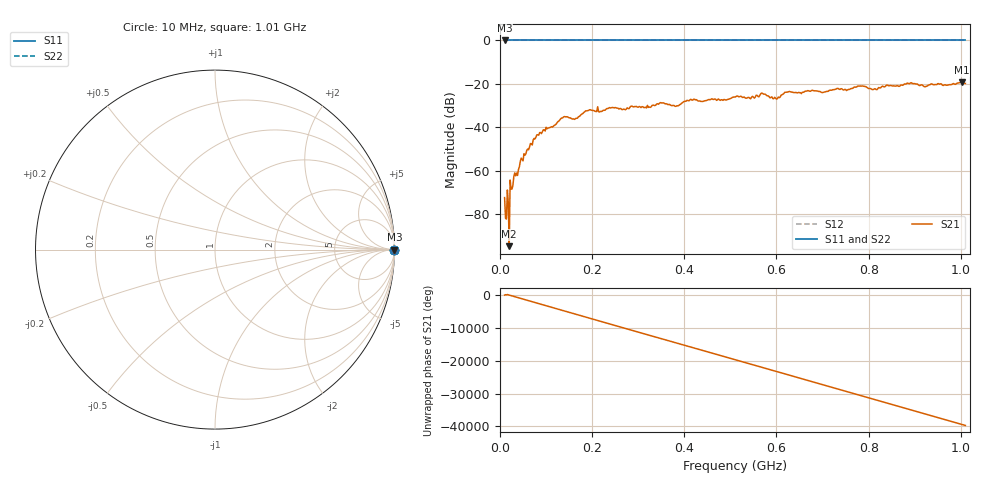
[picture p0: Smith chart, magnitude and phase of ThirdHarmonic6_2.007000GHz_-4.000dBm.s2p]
! 8/17/2025 12:06:12 AM
! C:\ANRITSUVNA\TEMP\TEMP.S2P
! CHANNEL.1
! TR.MEASUREMENT
! RAW.DATA
! RF.CORRECTION.OFF
! AVERAGING.OFF
! IF.BANDWIDTH: 5KHZ
! SWEEPTYPE:  FREQ.SWEEP(Linear)
! Reference Plane Port Info
! PORT:  PORT1  PORT2
! DISTANCE:  0  m  0  m
! TIME:  0  s  0  s
! PHASE.OFFSET:  0  deg.  0  deg.
! LOSS:  0  dB  0  dB
! REF.LOSS:  0  dB  0  dB
! REF.FREQ:  0  Hz  0  Hz
! Power Info
! POWER:  -20  dBm  -20  dBm
! EFF.POWER:  -20  dBm  -20  dBm
! SOURCE.ATTEN:  0  dB  0  dB
! TEST.ATTEN:  0  dB  0  dB
# GHZ S RI R 50.0
! FREQ.GHZ  S11RE  S11IM  S21RE  S21IM  S12RE  S12IM  S22RE  S22IM
!; PortSelection: Port_12
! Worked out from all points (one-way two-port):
!   501 points, 10 MHz to 1.01 GHz, reference 50 ohm
!   highest |S21| = -19.15 dB at 1.002 GHz (marker M1); lowest = -94.6 dB at 20 MHz (marker M2)
!   lowest |S11| = 0.0 dB at 10 MHz (marker M3)
!   |S11| at or under -10 dB: nowhere
!   |S22| runs from 0.0 to 0.0 dB; largest |S21 - S12| = 1.1
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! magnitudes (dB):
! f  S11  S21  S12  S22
! 10 MHz  0.0  -72.3  0.0  0.0
! 16 MHz  0.0  -68.7  0.0  0.0
! 20 MHz  0.0  -94.6  0.0  0.0
! 24 MHz  0.0  -68.3  0.0  0.0
! 26 MHz  0.0  -68.3  0.0  0.0
! 48 MHz  0.0  -54.7  0.0  0.0
! 78 MHz  0.0  -44.4  0.0  0.0
! 136 MHz  0.0  -35.6  0.0  0.0
! 162 MHz  0.0  -36.3  0.0  0.0
! 178 MHz  0.0  -33.8  0.0  0.0
! 344 MHz  0.0  -29.3  0.0  0.0
! 384 MHz  0.0  -30.0  0.0  0.0
! 416 MHz  0.0  -27.4  0.0  0.0
! 510 MHz  0.0  -26.0  0.0  0.0
! 570 MHz  0.0  -24.4  0.0  0.0
! 598 MHz  0.0  -26.6  0.0  0.0
! 622 MHz  0.0  -23.8  0.0  0.0
! 678 MHz  0.0  -22.9  0.0  0.0
! 814 MHz  0.0  -22.2  0.0  0.0
! 844 MHz  0.0  -20.9  0.0  0.0
! 1.002 GHz  0.0  -19.1  0.0  0.0
! 1.01 GHz  0.0  -19.7  0.0  0.0
